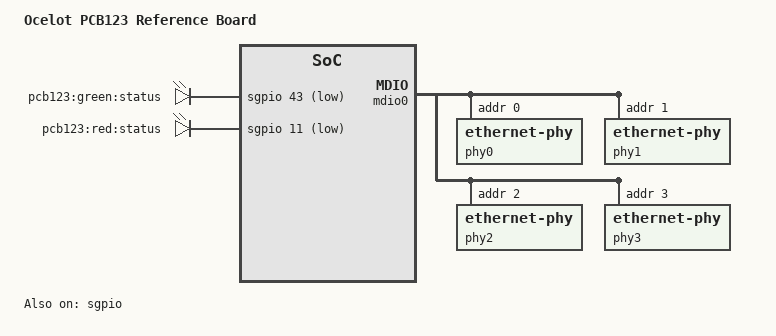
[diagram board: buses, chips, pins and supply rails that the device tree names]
// SPDX-License-Identifier: (GPL-2.0+ OR MIT)
/*
 * Copyright (c) 2018 Microsemi Corporation
 */

/dts-v1/;
#include "mscc,ocelot_pcb.dtsi"

/ {
	model = "Ocelot PCB123 Reference Board";
	compatible = "mscc,ocelot-pcb123", "mscc,ocelot";

	chosen {
		stdout-path = "serial0:115200n8";
	};

	gpio-leds {
		compatible = "gpio-leds";

		status_green {
			label = "pcb123:green:status";
			gpios = <&sgpio 43 1>; /* p11.1 */
			default-state = "on";
		};

		status_red {
			label = "pcb123:red:status";
			gpios = <&sgpio 11 1>; /* p11.0 */
			default-state = "off";
		};
	};
};

&sgpio {
	status = "okay";
	mscc,sgpio-ports = <0x00FFFFFF>;
};

&mdio0 {
	status = "okay";

	phy0: ethernet-phy@0 {
		reg = <0>;
	};
	phy1: ethernet-phy@1 {
		reg = <1>;
	};
	phy2: ethernet-phy@2 {
		reg = <2>;
	};
	phy3: ethernet-phy@3 {
		reg = <3>;
	};
};

&switch {
	ethernet-ports {
		port0: port@0 {
			reg = <2>;
			phy-handle = <&phy2>;
		};
		port1: port@1 {
			reg = <3>;
			phy-handle = <&phy3>;
		};
		port2: port@2 {
			reg = <0>;
			phy-handle = <&phy0>;
		};
		port3: port@3 {
			reg = <1>;
			phy-handle = <&phy1>;
		};
	};
};
